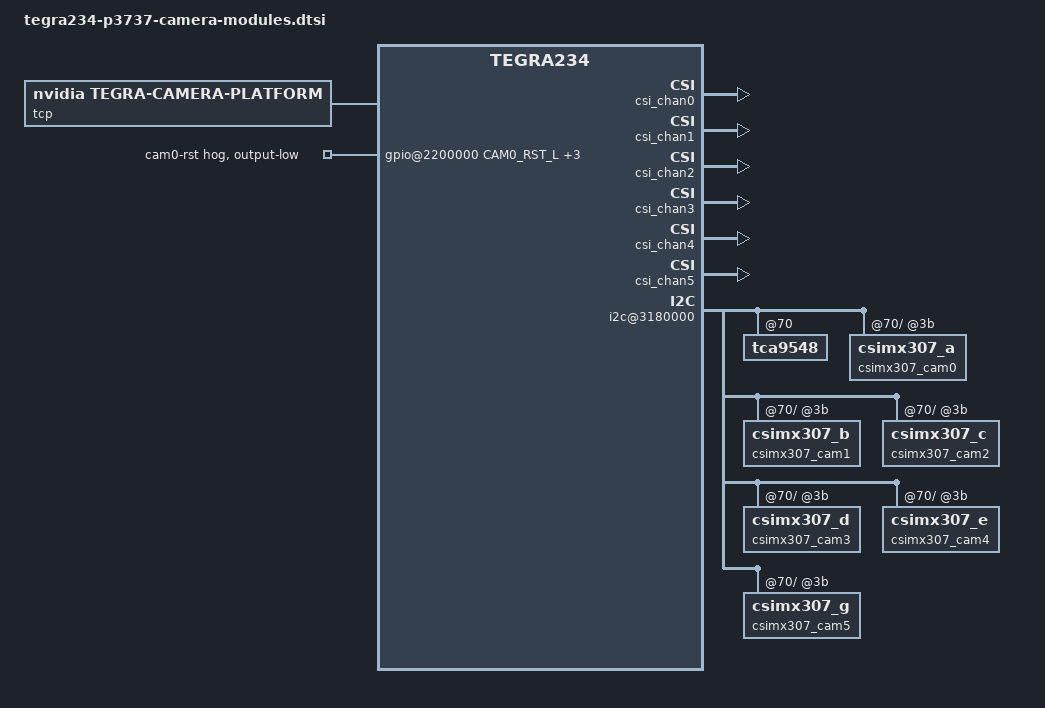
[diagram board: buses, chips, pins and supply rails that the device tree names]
/*
 * Copyright (c) 2022, NVIDIA CORPORATION.  All rights reserved.
 *
 * This program is free software; you can redistribute it and/or modify it
 * under the terms and conditions of the GNU General Public License,
 * version 2, as published by the Free Software Foundation.
 *
 * This program is distributed in the hope it will be useful, but WITHOUT
 * ANY WARRANTY; without even the implied warranty of MERCHANTABILITY or
 * FITNESS FOR A PARTICULAR PURPOSE.  See the GNU General Public License for
 * more details.
 *
 * You should have received a copy of the GNU General Public License
 * along with this program.  If not, see <http://www.gnu.org/licenses/>.
 */

/* These headers don't exist yet.
 * TODO: add below headers for corresponding sensor modules.
 * #include "tegra234-p3737-0000-camera-e3377-a00.dtsi"
 * #include "tegra234-p3737-0000-camera-e3326-a00.dtsi"
 * #include "tegra234-p3737-0000-camera-vivid.dtsi"
 * #include "tegra234-p3737-0000-camera-imx274-a00.dtsi"
 */
//xumm :enable veye camera, so we do not use overlay mechanism now
/*
#include "tegra234-p3737-0000-camera-e3331-a00.dtsi"
#include "tegra234-p3737-0000-camera-e3333-a00.dtsi"
#include "tegra234-p3737-0000-camera-imx185-a00.dtsi"
#include "tegra234-p3737-0000-camera-imx390-a00.dtsi"
#include "tegra234-p3737-0000-camera-imx274-dual.dtsi"
*/

#include "tegra234-p3737-0000-camera-csimx307-a00.dtsi"

#define CAM0_RST_L	TEGRA234_MAIN_GPIO(H, 3)
#define CAM0_PWDN	TEGRA234_MAIN_GPIO(H, 6)
#define CAM1_RST_L	TEGRA234_MAIN_GPIO(AC, 1)
#define CAM1_PWDN	TEGRA234_MAIN_GPIO(AC, 0)

/ {
	tegra-camera-platform {
		/**
		* tpg_max_iso = <>;
		* Max iso bw for 6 streams of tpg
		* streams * nvcsi_freq * PG_bitrate / RG10 * BPP
		* 6 * 102Mhz * 32 bits/ 10 bits * 2 Bps
		* = 3916.8 MBps
		*/
		tpg_max_iso = <3916800>;
	};

	/* set camera gpio direction to output */
	gpio@2200000 {
		camera-control-output-low {
			gpio-hog;
			output-low;
			gpios = <CAM0_RST_L 0 CAM0_PWDN 0
				 CAM1_RST_L 0 CAM1_PWDN 0>;
			label = "cam0-rst", "cam0-pwdn",
				"cam1-rst", "cam1-pwdn";
		};
	};

	/* all cameras are enabled by default */
	capture_vi_base: tegra-capture-vi {
		ports {
			vi_port0: port@0 {
				status = "okay";
				vi_in0: endpoint {
					vc-id = <0>;
					status = "okay";
				};
			};
			vi_port1: port@1 {
				status = "okay";
				vi_in1: endpoint {
					vc-id = <0>;
					status = "okay";
				};
			};
			vi_port2: port@2 {
				status = "okay";
				vi_in2: endpoint {
					vc-id = <0>;
					status = "okay";
				};
			};
			vi_port3: port@3 {
				status = "okay";
				vi_in3: endpoint {
					vc-id = <0>;
					status = "okay";
				};
			};
			vi_port4: port@4 {
				status = "okay";
				vi_in4: endpoint {
					vc-id = <0>;
					status = "okay";
				};
			};
			vi_port5: port@5 {
				status = "okay";
				vi_in5: endpoint {
					vc-id = <0>;
					status = "okay";
				};
			};
		};
	};

	host1x@13e00000 {
		csi_base: nvcsi@15a00000 {
			num-tpg-channels = <36>;
			csi_chan0: channel@0 {
				status = "okay";
				ports {
					csi_chan0_port0: port@0 {
						status = "okay";
						csi_in0: endpoint@0 {
							status = "okay";
						};
					};
					csi_chan0_port1: port@1 {
						status = "okay";
						csi_out0: endpoint@1 {
							status = "okay";
						};
					};
				};
			};
			csi_chan1: channel@1 {
				status = "okay";
				ports {
					csi_chan1_port0: port@0 {
						status = "okay";
						csi_in1: endpoint@2 {
							status = "okay";
						};
					};
					csi_chan1_port1: port@1 {
						status = "okay";
						csi_out1: endpoint@3 {
							status = "okay";
						};
					};
				};
			};
			csi_chan2: channel@2 {
				status = "okay";
				ports {
					csi_chan2_port0: port@0 {
						status = "okay";
						csi_in2: endpoint@4 {
							status = "okay";
						};
					};
					csi_chan2_port1: port@1 {
						status = "okay";
						csi_out2: endpoint@5 {
							status = "okay";
						};
					};
				};
			};
			csi_chan3: channel@3 {
				status = "okay";
				ports {
					csi_chan3_port0: port@0 {
						status = "okay";
						csi_in3: endpoint@6 {
							status = "okay";
						};
					};
					csi_chan3_port1: port@1 {
						status = "okay";
						csi_out3: endpoint@7 {
							status = "okay";
						};
					};
				};
			};
			csi_chan4: channel@4 {
				status = "okay";
				ports {
					csi_chan4_port0: port@0 {
						status = "okay";
						csi_in4: endpoint@8 {
							status = "okay";
						};
					};
					csi_chan4_port1: port@1 {
						status = "okay";
						csi_out4: endpoint@9 {
							status = "okay";
						};
					};
				};
			};
			csi_chan5: channel@5 {
				status = "okay";
				ports {
					csi_chan5_port0: port@0 {
						status = "okay";
						csi_in5: endpoint@10 {
							status = "okay";
						};
					};
					csi_chan5_port1: port@1 {
						status = "okay";
						csi_out5: endpoint@11 {
							status = "okay";
						};
					};
				};
			};
		};
	};

	i2c@3180000 {
		tca9548@70 {
			status = "okay";
			i2c@0 {
				csimx307_cam0: csimx307_a@3b {
					status = "okay";
				};
			};
			i2c@1 {
				csimx307_cam1: csimx307_b@3b {
					status = "okay";
				};
			};
			i2c@2 {
				csimx307_cam2: csimx307_c@3b {
					status = "okay";
				};
			};
			i2c@3 {
				csimx307_cam3: csimx307_d@3b {
					status = "okay";
				};
			};
			i2c@4 {
				csimx307_cam4: csimx307_e@3b {
					status = "okay";
				};
			};
			i2c@5 {
				csimx307_cam5: csimx307_g@3b {
					status = "okay";
				};
			};
		};
	};

	tcp: tegra-camera-platform {
		compatible = "nvidia, tegra-camera-platform";
		modules {
			cam_module0: module0 {
				status = "okay";
				cam_module0_drivernode0: drivernode0 {
					status = "okay";
				};
				
			};
			cam_module1: module1 {
				status = "okay";
				cam_module1_drivernode0: drivernode0 {
					status = "okay";
				};
				
			};
			cam_module2: module2 {
				status = "okay";
				cam_module2_drivernode0: drivernode0 {
					status = "okay";
				};
				
			};
			cam_module3: module3 {
				status = "okay";
				cam_module3_drivernode0: drivernode0 {
					status = "okay";
				};
				
			};
			cam_module4: module4 {
				status = "okay";
				cam_module4_drivernode0: drivernode0 {
					status = "okay";
				};
				
			};
			cam_module5: module5 {
				status = "okay";
				cam_module5_drivernode0: drivernode0 {
					status = "okay";
				};
				
			};
		};
	};
};
